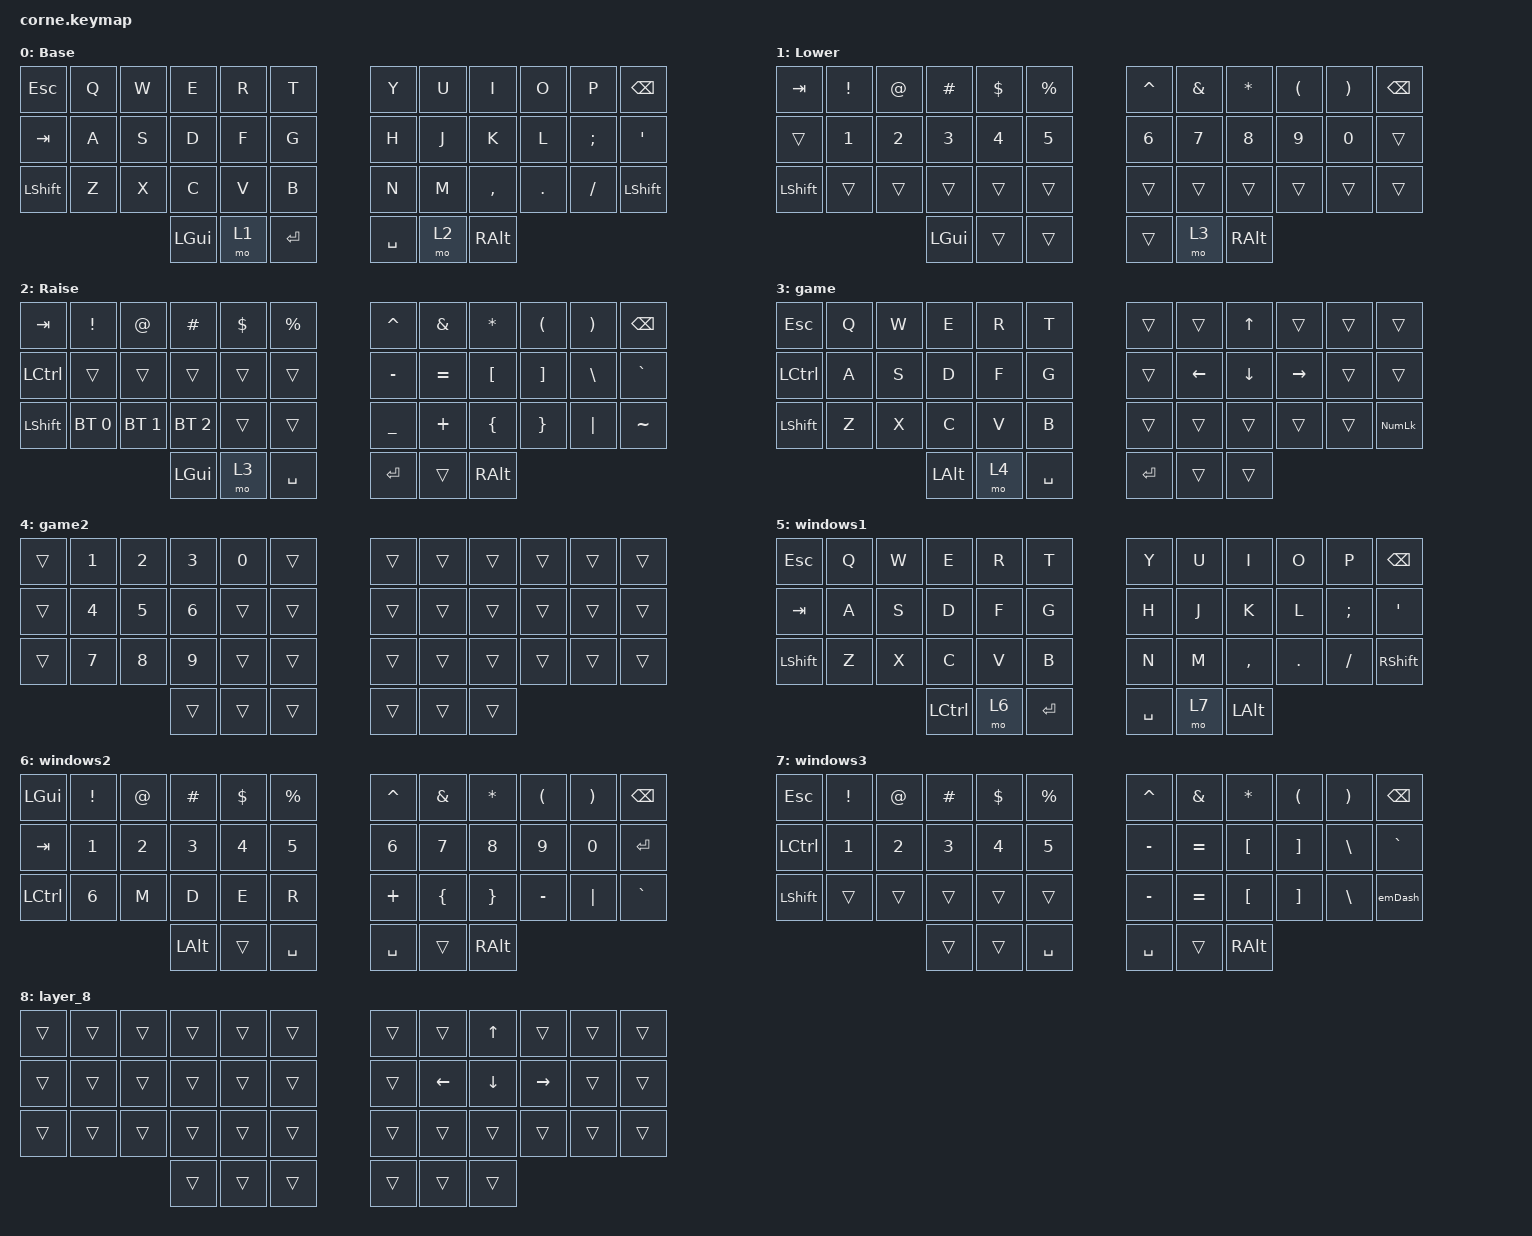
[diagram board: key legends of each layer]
/*
 * Copyright (c) 2020 The ZMK Contributors
 *
 * SPDX-License-Identifier: MIT
 */

#include <behaviors.dtsi>
#include <dt-bindings/zmk/bt.h>
#include <dt-bindings/zmk/keys.h>
#include <dt-bindings/zmk/keys.h>

/ {
    combos {
        compatible = "zmk,combos";

        layer3 {
            bindings = <&mo 3>;
            key-positions = <37 40>;
        };

        layer3lock {
            bindings = <&tog 3>;
            key-positions = <11 35>;
        };

        winTog {
            bindings = <&tog 5>;
            key-positions = <0 5>;
        };
    };

    macros {
        emDash: emDash {
            compatible = "zmk,behavior-macro";
            #binding-cells = <0>;
            bindings = <&kt LEFT_ALT &kp KP_NUMBER_0 &kp KP_NUMBER_1 &kp KP_NUMBER_5 &kp KP_NUMBER_1 &kt LEFT_ALT>;
            label = "EMDASH";
        };
    };

    keymap {
        compatible = "zmk,keymap";

        default_layer {
            // -----------------------------------------------------------------------------------------
            // |  TAB |  Q  |  W  |  E  |  R  |  T  |   |  Y  |  U   |  I  |  O  |  P  | BKSP |
            // | CTRL |  A  |  S  |  D  |  F  |  G  |   |  H  |  J   |  K  |  L  |  ;  |  '   |
            // | SHFT |  Z  |  X  |  C  |  V  |  B  |   |  N  |  M   |  ,  |  .  |  /  | ESC  |
            //                    | GUI | LWR | SPC |   | ENT | RSE  | ALT |

            label = "Base";
            bindings = <
&kp ESC    &kp Q  &kp W  &kp E     &kp R  &kp T        &kp Y      &kp U  &kp I      &kp O    &kp P     &kp BSPC
&kp TAB    &kp A  &kp S  &kp D     &kp F  &kp G        &kp H      &kp J  &kp K      &kp L    &kp SEMI  &kp SQT
&kp LSHFT  &kp Z  &kp X  &kp C     &kp V  &kp B        &kp N      &kp M  &kp COMMA  &kp DOT  &kp FSLH  &kp LEFT_SHIFT
                         &kp LGUI  &mo 1  &kp ENTER    &kp SPACE  &mo 2  &kp RALT
            >;
        };

        lower_layer {
            // -----------------------------------------------------------------------------------------
            // |  TAB |  1  |  2  |  3  |  4  |  5  |   |  6  |  7  |  8  |  9  |  0  | BKSP |
            // | BTCLR| BT1 | BT2 | BT3 | BT4 | BT5 |   | LFT | DWN |  UP | RGT |     |      |
            // | SHFT |     |     |     |     |     |   |     |     |     |     |     |      |
            //                    | GUI |     | SPC |   | ENT |     | ALT |

            label = "Lower";
            bindings = <
&kp TAB    &kp EXCL      &kp AT        &kp HASH      &kp DOLLAR    &kp PERCENT    &kp CARET     &kp AMPERSAND  &kp ASTRK  &kp LEFT_PARENTHESIS  &kp RIGHT_PARENTHESIS  &kp BSPC
&trans     &kp NUMBER_1  &kp NUMBER_2  &kp NUMBER_3  &kp NUMBER_4  &kp N5         &kp NUMBER_6  &kp N7         &kp N8     &kp N9                &kp N0                 &trans
&kp LSHFT  &trans        &trans        &trans        &trans        &trans         &trans        &trans         &trans     &trans                &trans                 &trans
                                       &kp LGUI      &trans        &trans         &trans        &mo 3          &kp RALT
            >;
        };

        raise_layer {
            // -----------------------------------------------------------------------------------------
            // |  TAB |  !  |  @  |  #  |  $  |  %  |   |  ^  |  &  |  *  |  (  |  )  | BKSP |
            // | CTRL |     |     |     |     |     |   |  -  |  =  |  [  |  ]  |  \  |  `   |
            // | SHFT |     |     |     |     |     |   |  _  |  +  |  {  |  }  | "|" |  ~   |
            //                    | GUI |     | SPC |   | ENT |     | ALT |

            label = "Raise";
            bindings = <
&kp TAB    &kp EXCL      &kp AT        &kp HASH      &kp DLLR  &kp PRCNT    &kp CARET  &kp AMPS   &kp ASTRK  &kp LPAR  &kp RPAR  &kp BSPC
&kp LCTRL  &trans        &trans        &trans        &trans    &trans       &kp MINUS  &kp EQUAL  &kp LBKT   &kp RBKT  &kp BSLH  &kp GRAVE
&kp LSHFT  &bt BT_SEL 0  &bt BT_SEL 1  &bt BT_SEL 2  &trans    &trans       &kp UNDER  &kp PLUS   &kp LBRC   &kp RBRC  &kp PIPE  &kp TILDE
                                       &kp LGUI      &mo 3     &kp SPACE    &kp RET    &trans     &kp RALT
            >;
        };

        game {
            bindings = <
&kp ESC    &kp Q  &kp W  &kp E     &kp R  &kp T        &trans     &trans          &kp UP_ARROW  &trans     &trans  &trans
&kp LCTRL  &kp A  &kp S  &kp D     &kp F  &kp G        &trans     &kp LEFT_ARROW  &kp DOWN      &kp RIGHT  &trans  &trans
&kp LSHFT  &kp Z  &kp X  &kp C     &kp V  &kp B        &trans     &trans          &trans        &trans     &trans  &kp KP_NUMLOCK
                         &kp LALT  &mo 4  &kp SPACE    &kp ENTER  &trans          &trans
            >;
        };

        game2 {
            bindings = <
&trans  &kp N1  &kp N2  &kp N3  &kp N0  &trans    &trans  &trans  &trans  &trans  &trans  &trans
&trans  &kp N4  &kp N5  &kp N6  &trans  &trans    &trans  &trans  &trans  &trans  &trans  &trans
&trans  &kp N7  &kp N8  &kp N9  &trans  &trans    &trans  &trans  &trans  &trans  &trans  &trans
                        &trans  &trans  &trans    &trans  &trans  &trans
            >;
        };

        windows1 {
            bindings = <
&kp ESC    &kp Q  &kp W  &kp E      &kp R  &kp T        &kp Y      &kp U  &kp I      &kp O    &kp P     &kp BSPC
&kp TAB    &kp A  &kp S  &kp D      &kp F  &kp G        &kp H      &kp J  &kp K      &kp L    &kp SEMI  &kp APOS
&kp LSHFT  &kp Z  &kp X  &kp C      &kp V  &kp B        &kp N      &kp M  &kp COMMA  &kp DOT  &kp FSLH  &kp RSHFT
                         &kp LCTRL  &mo 6  &kp ENTER    &kp SPACE  &mo 7  &kp LALT
            >;
        };

        windows2 {
            bindings = <
&kp LGUI   &kp EXCLAMATION  &kp AT_SIGN  &kp HASH  &kp DOLLAR  &kp PERCENT    &kp CARET  &kp AMPERSAND   &kp ASTERISK     &kp LEFT_PARENTHESIS  &kp RIGHT_PARENTHESIS  &kp BACKSPACE
&kp TAB    &kp N1           &kp N2       &kp N3    &kp N4      &kp N5         &kp N6     &kp N7          &kp N8           &kp N9                &kp N0                 &kp ENTER
&kp LCTRL  &kp N6           &kp M        &kp D     &kp E       &kp R          &kp PLUS   &kp LEFT_BRACE  &kp RIGHT_BRACE  &kp MINUS             &kp PIPE               &kp GRAVE
                                         &kp LALT  &trans      &kp SPACE      &kp SPACE  &trans          &kp RIGHT_ALT
            >;
        };

        windows3 {
            bindings = <
&kp ESC    &kp EXCL  &kp AT  &kp HASH  &kp DOLLAR  &kp PERCENT    &kp CARET  &kp AMPS   &kp ASTRK  &kp LEFT_PARENTHESIS  &kp RIGHT_PARENTHESIS  &kp BSPC
&kp LCTRL  &kp N1    &kp N2  &kp N3    &kp N4      &kp N5         &kp MINUS  &kp EQUAL  &kp LBKT   &kp RBKT              &kp BSLH               &kp GRAVE
&kp LSHFT  &trans    &trans  &trans    &trans      &trans         &kp MINUS  &kp EQUAL  &kp LBKT   &kp RBKT              &kp BSLH               &emDash
                             &trans    &trans      &kp SPACE      &kp SPACE  &trans     &kp RALT
            >;
        };

        layer_8 {
            bindings = <
&trans  &trans  &trans  &trans  &trans  &trans    &trans  &trans    &kp UP_ARROW  &trans     &trans  &trans
&trans  &trans  &trans  &trans  &trans  &trans    &trans  &kp LEFT  &kp DOWN      &kp RIGHT  &trans  &trans
&trans  &trans  &trans  &trans  &trans  &trans    &trans  &trans    &trans        &trans     &trans  &trans
                        &trans  &trans  &trans    &trans  &trans    &trans
            >;
        };
    };

    conditional_layers {
        compatible = "zmk,conditional-layers";

        layer8 {
            if-layers = <5 6 7>;
            then-layer = <8>;
        };
    };
};
